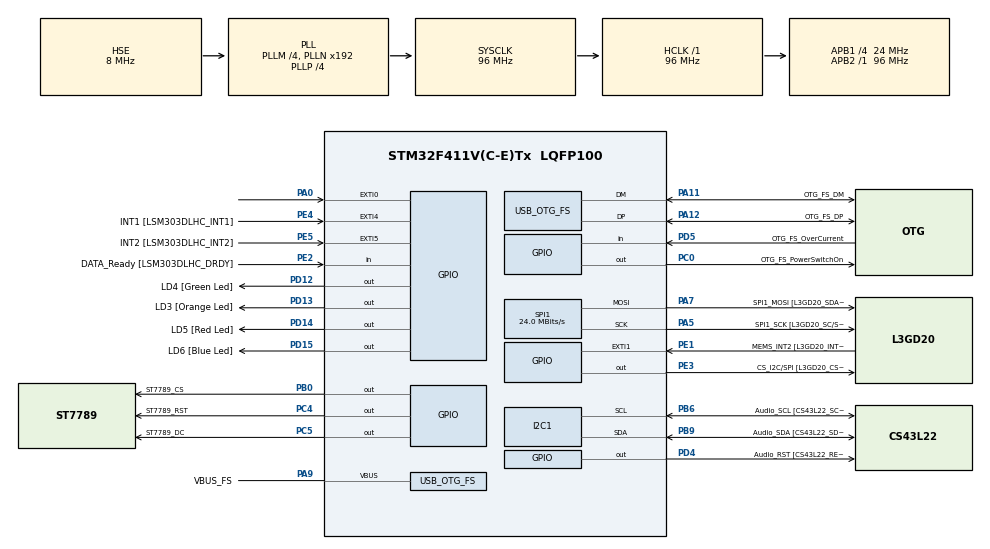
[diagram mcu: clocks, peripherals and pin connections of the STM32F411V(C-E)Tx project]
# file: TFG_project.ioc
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FREERTOS.Tasks01=defaultTask,0,128,StartDefaultTask,Default,NULL,Dynamic,NULL,NULL;batterygau_task,-3,128,StartGaulge_task,Default,NULL,Dynamic,NULL,NULL;LCD_task,-3,128,StartLCD_task,Default,NULL,Dynamic,NULL,NULL
FREERTOS.configUSE_NEWLIB_REENTRANT=1
Mcu.Family=STM32F4
Mcu.Name=STM32F411V(C-E)Tx
Mcu.Package=LQFP100
NVIC.I2C1_EV_IRQn=true\:5\:0\:false\:false\:true\:true\:true\:true\:true
NVIC.OTG_FS_IRQn=true\:5\:0\:false\:false\:true\:true\:true\:true\:true
NVIC.PriorityGroup=NVIC_PRIORITYGROUP_4
NVIC.TIM1_UP_TIM10_IRQn=true\:15\:0\:false\:false\:true\:false\:false\:true\:true
NVIC.TimeBase=TIM1_UP_TIM10_IRQn
NVIC.TimeBaseIP=TIM1
PA0-WKUP.GPIO_ModeDefaultEXTI=GPIO_MODE_EVT_RISING
PA0-WKUP.Signal=GPXTI0
PA10.GPIO_Label=OTG_FS_ID
PA10.Signal=USB_OTG_FS_ID
PA11.GPIO_Label=OTG_FS_DM
PA11.Mode=Host_Only
PA11.Signal=USB_OTG_FS_DM
PA12.GPIO_Label=OTG_FS_DP
PA12.Mode=Host_Only
PA12.Signal=USB_OTG_FS_DP
PA13.GPIO_Label=SWDIO
PA13.Mode=Serial_Wire
PA13.Signal=SYS_JTMS-SWDIO
PA14.GPIO_Label=SWCLK
PA14.Mode=Serial_Wire
PA14.Signal=SYS_JTCK-SWCLK
PA4.GPIO_Label=I2S3_WS [CS43L22_LRCK]
PA4.GPIO_Mode=GPIO_MODE_AF_PP
PA4.GPIO_PuPd=GPIO_NOPULL
PA4.GPIO_Speed=GPIO_SPEED_FREQ_LOW
PA4.Signal=I2S3_WS
PA5.GPIO_Label=SPI1_SCK [L3GD20_SC/SPC]
PA5.Mode=TX_Only_Simplex_Unidirect_Master
PA5.Signal=SPI1_SCK
PA6.GPIO_Label=SPI1_MISO [L3GD20_AS0/SDO]
PA6.Signal=SPI1_MISO
PA7.GPIO_Label=SPI1_MOSI [L3GD20_SDA/SDI/SDO]
PA7.Mode=TX_Only_Simplex_Unidirect_Master
PA7.Signal=SPI1_MOSI
PA9.GPIO_Label=VBUS_FS
PA9.Mode=Activate_VBUS
PA9.Signal=USB_OTG_FS_VBUS
PB0.GPIO_Label=ST7789_CS
PB0.GPIO_Speed=GPIO_SPEED_FREQ_HIGH
PB0.PinState=GPIO_PIN_SET
PB0.Signal=GPIO_Output
PB10.GPIO_Label=CLK_IN [MP45DT02_CLK]
PB10.Signal=I2S2_CK
PB12.Signal=I2S2_WS
PB3.GPIO_Label=SWO
PB3.Signal=SYS_JTDO-SWO
PB6.GPIO_Label=Audio_SCL [CS43L22_SCL]
PB6.GPIO_Mode=GPIO_MODE_AF_OD
PB6.GPIO_Pu=GPIO_PULLUP
PB6.GPIO_PuPd=GPIO_NOPULL
PB6.GPIO_Speed=GPIO_SPEED_FREQ_LOW
PB6.Mode=I2C
PB6.Signal=I2C1_SCL
PB9.GPIO_Label=Audio_SDA [CS43L22_SDA]
PB9.GPIO_Mode=GPIO_MODE_AF_OD
PB9.GPIO_Pu=GPIO_PULLUP
PB9.GPIO_PuPd=GPIO_NOPULL
PB9.GPIO_Speed=GPIO_SPEED_FREQ_LOW
PB9.Mode=I2C
PB9.Signal=I2C1_SDA
PC0.GPIO_Label=OTG_FS_PowerSwitchOn
PC0.PinState=GPIO_PIN_SET
PC0.Signal=GPIO_Output
PC10.GPIO_Label=I2S3_SCK [CS43L22_SCLK]
PC10.GPIO_Mode=GPIO_MODE_AF_PP
PC10.GPIO_PuPd=GPIO_NOPULL
PC10.GPIO_Speed=GPIO_SPEED_FREQ_LOW
PC10.Signal=I2S3_CK
PC12.GPIO_Label=I2S3_SD [CS43L22_SDIN]
PC12.GPIO_Mode=GPIO_MODE_AF_PP
PC12.GPIO_PuPd=GPIO_NOPULL
PC12.GPIO_Speed=GPIO_SPEED_FREQ_LOW
PC12.Signal=I2S3_SD
PC14-OSC32_IN.GPIO_Label=PC14-OSC32_IN
PC14-OSC32_IN.Mode=LSE-External-Oscillator
PC14-OSC32_IN.Signal=RCC_OSC32_IN
PC15-OSC32_OUT.GPIO_Label=PC15-OSC32_OUT
PC15-OSC32_OUT.Mode=LSE-External-Oscillator
PC15-OSC32_OUT.Signal=RCC_OSC32_OUT
PC3.GPIO_Label=PDM_OUT [MP45DT02_DOUT]
PC3.Signal=I2S2_SD
PC4.GPIO_Label=ST7789_RST
PC4.GPIO_Speed=GPIO_SPEED_FREQ_HIGH
PC4.Signal=GPIO_Output
PC5.GPIO_Label=ST7789_DC
PC5.GPIO_Speed=GPIO_SPEED_FREQ_HIGH
PC5.Signal=GPIO_Output
PC7.GPIO_Label=I2S3_MCK [CS43L22_MCLK]
PC7.GPIO_Mode=GPIO_MODE_AF_PP
PC7.GPIO_PuPd=GPIO_NOPULL
PC7.GPIO_Speed=GPIO_SPEED_FREQ_LOW
PC7.Signal=I2S3_MCK
PD12.GPIO_Label=LD4 [Green Led]
PD12.GPIO_PuPd=GPIO_NOPULL
PD12.GPIO_Speed=GPIO_SPEED_FREQ_LOW
PD12.Signal=GPIO_Output
PD13.GPIO_Label=LD3 [Orange Led]
PD13.GPIO_PuPd=GPIO_NOPULL
PD13.GPIO_Speed=GPIO_SPEED_FREQ_LOW
PD13.Signal=GPIO_Output
PD14.GPIO_Label=LD5 [Red Led]
PD14.GPIO_PuPd=GPIO_NOPULL
PD14.GPIO_Speed=GPIO_SPEED_FREQ_LOW
PD14.Signal=GPIO_Output
PD15.GPIO_Label=LD6 [Blue Led]
PD15.GPIO_PuPd=GPIO_NOPULL
PD15.GPIO_Speed=GPIO_SPEED_FREQ_LOW
PD15.Signal=GPIO_Output
PD4.GPIO_Label=Audio_RST [CS43L22_RESET]
PD4.Signal=GPIO_Output
PD5.GPIO_Label=OTG_FS_OverCurrent
PD5.Signal=GPIO_Input
PE1.GPIO_Label=MEMS_INT2 [L3GD20_INT2]
PE1.GPIO_ModeDefaultEXTI=GPIO_MODE_EVT_RISING
PE1.Signal=GPXTI1
PE2.GPIO_Label=DATA_Ready [LSM303DLHC_DRDY]
PE2.Signal=GPIO_Input
PE3.GPIO_Label=CS_I2C/SPI [L3GD20_CS_I2C/SPI]
PE3.Signal=GPIO_Output
PE4.GPIO_Label=INT1 [LSM303DLHC_INT1]
PE4.GPIO_ModeDefaultEXTI=GPIO_MODE_EVT_RISING
PE4.Signal=GPXTI4
PE5.GPIO_Label=INT2 [LSM303DLHC_INT2]
PE5.GPIO_ModeDefaultEXTI=GPIO_MODE_EVT_RISING
PE5.Signal=GPXTI5
PH0\ -\ OSC_IN.GPIO_Label=PH0-OSC_IN
PH0\ -\ OSC_IN.Mode=HSE-External-Oscillator
PH0\ -\ OSC_IN.Signal=RCC_OSC_IN
PH1\ -\ OSC_OUT.GPIO_Label=PH1-OSC_OUT
PH1\ -\ OSC_OUT.Mode=HSE-External-Oscillator
PH1\ -\ OSC_OUT.Signal=RCC_OSC_OUT
ProjectManager.HeapSize=0x200
ProjectManager.StackSize=0x400
ProjectManager.TargetToolchain=STM32CubeIDE
RCC.48MHZClocksFreq_Value=48000000
RCC.AHBFreq_Value=96000000
RCC.APB1CLKDivider=RCC_HCLK_DIV4
RCC.APB1Freq_Value=24000000
RCC.APB1TimFreq_Value=48000000
RCC.APB2Freq_Value=96000000
RCC.APB2TimFreq_Value=96000000
RCC.CortexFreq_Value=96000000
RCC.HCLKFreq_Value=96000000
RCC.HSE_VALUE=8000000
RCC.HSI_VALUE=16000000
RCC.PLLI2SM=5
RCC.PLLI2SN=200
RCC.PLLM=4
RCC.PLLP=RCC_PLLP_DIV4
RCC.PLLQ=8
RCC.SYSCLKFreq_VALUE=96000000
RCC.SYSCLKSource=RCC_SYSCLKSOURCE_PLLCLK
RCC.VCOOutputFreq_Value=384000000
SPI1.BaudRatePrescaler=SPI_BAUDRATEPRESCALER_4
SPI1.CalculateBaudRate=24.0 MBits/s
SPI1.Direction=SPI_DIRECTION_2LINES
SPI1.Mode=SPI_MODE_MASTER
SPI1.VirtualType=VM_MASTER
USB_HOST.BSP.number=1
USB_HOST.USBH_HandleTypeDef=hUsbHostFS
USB_HOST.USBH_USE_OS-CDC_FS=0
USB_HOST.VirtualModeFS=Cdc
USB_HOST0.BSP.STBoard=false
USB_HOST0.BSP.api=Unknown
USB_HOST0.BSP.instance=PC0
USB_HOST0.BSP.ip=GPIO
USB_HOST0.BSP.mode=Output
USB_HOST0.BSP.name=Drive_VBUS_FS
USB_HOST0.BSP.solution=PC0
USB_OTG_FS.VirtualMode=Host_Only
USB_OTG_FS.phy_itface=HCD_PHY_EMBEDDED
VP_FREERTOS_VS_CMSIS_V1.Mode=CMSIS_V1
VP_SYS_VS_tim1.Mode=TIM1
VP_USB_HOST_VS_USB_HOST_CDC_FS.Mode=CDC_FS
board=STM32F411E-DISCO

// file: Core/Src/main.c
/* USER CODE BEGIN Header */
/**
  ******************************************************************************
  * @file           : main.c
  * @brief          : Main program body
  ******************************************************************************
  * @attention
  *
  * Copyright (c) 2026 STMicroelectronics.
  * All rights reserved.
  *
  * This software is licensed under terms that can be found in the LICENSE file
  * in the root directory of this software component.
  * If no LICENSE file comes with this software, it is provided AS-IS.
  *
  ******************************************************************************
  */
/* USER CODE END Header */
#include "main.h"
#include "cmsis_os.h"
#include "i2c.h"
#include "spi.h"
#include "usb_host.h"
#include "gpio.h"

/* USER CODE BEGIN Includes */
#include "st7789.h"
#include "stdio.h"
/* USER CODE END Includes */

void SystemClock_Config(void);
void MX_FREERTOS_Init(void);

int main(void)
{

  /* MCU Configuration--------------------------------------------------------*/

  /* Reset of all peripherals, Initializes the Flash interface and the Systick. */
  HAL_Init();

  /* Configure the system clock */
  SystemClock_Config();

  /* Initialize all configured peripherals */
  MX_GPIO_Init();
  MX_I2C1_Init();
  MX_SPI1_Init();
  /* USER CODE BEGIN 2 */
  ST7789_Init();
  /* USER CODE END 2 */

  /* Call init function for freertos objects (in cmsis_os2.c) */
  MX_FREERTOS_Init();

  /* Start scheduler */
  osKernelStart();

  /* We should never get here as control is now taken by the scheduler */

  /* Infinite loop */
  while (1)
  {

  }
}

void SystemClock_Config(void)
{
  RCC_OscInitTypeDef RCC_OscInitStruct = {0};
  RCC_ClkInitTypeDef RCC_ClkInitStruct = {0};

  /** Configure the main internal regulator output voltage
  */
  __HAL_RCC_PWR_CLK_ENABLE();
  __HAL_PWR_VOLTAGESCALING_CONFIG(PWR_REGULATOR_VOLTAGE_SCALE1);

  /** Initializes the RCC Oscillators according to the specified parameters
  * in the RCC_OscInitTypeDef structure.
  */
  RCC_OscInitStruct.OscillatorType = RCC_OSCILLATORTYPE_HSE;
  RCC_OscInitStruct.HSEState = RCC_HSE_ON;
  RCC_OscInitStruct.PLL.PLLState = RCC_PLL_ON;
  RCC_OscInitStruct.PLL.PLLSource = RCC_PLLSOURCE_HSE;
  RCC_OscInitStruct.PLL.PLLM = 4;
  RCC_OscInitStruct.PLL.PLLN = 192;
  RCC_OscInitStruct.PLL.PLLP = RCC_PLLP_DIV4;
  RCC_OscInitStruct.PLL.PLLQ = 8;
  if (HAL_RCC_OscConfig(&RCC_OscInitStruct) != HAL_OK)
  {
    Error_Handler();
  }

  /** Initializes the CPU, AHB and APB buses clocks
  */
  RCC_ClkInitStruct.ClockType = RCC_CLOCKTYPE_HCLK|RCC_CLOCKTYPE_SYSCLK
                              |RCC_CLOCKTYPE_PCLK1|RCC_CLOCKTYPE_PCLK2;
  RCC_ClkInitStruct.SYSCLKSource = RCC_SYSCLKSOURCE_PLLCLK;
  RCC_ClkInitStruct.AHBCLKDivider = RCC_SYSCLK_DIV1;
  RCC_ClkInitStruct.APB1CLKDivider = RCC_HCLK_DIV4;
  RCC_ClkInitStruct.APB2CLKDivider = RCC_HCLK_DIV1;

  if (HAL_RCC_ClockConfig(&RCC_ClkInitStruct, FLASH_LATENCY_3) != HAL_OK)
  {
    Error_Handler();
  }
}

/* USER CODE BEGIN 4 */
int _write(int file, char *ptr, int len) {
    for (int i = 0; i < len; i++) {
        ITM_SendChar(*ptr++);
    }
    return len;
}
/* USER CODE END 4 */

void HAL_TIM_PeriodElapsedCallback(TIM_HandleTypeDef *htim)
{
  if (htim->Instance == TIM1)
  {
    HAL_IncTick();
  }
}

void Error_Handler(void)
{
  __disable_irq();
  while (1)
  {
  }
}

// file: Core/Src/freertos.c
/* USER CODE BEGIN Header */
/**
  ******************************************************************************
  * File Name          : freertos.c
  * Description        : Code for freertos applications
  ******************************************************************************
  * @attention
  *
  * Copyright (c) 2026 STMicroelectronics.
  * All rights reserved.
  *
  * This software is licensed under terms that can be found in the LICENSE file
  * in the root directory of this software component.
  * If no LICENSE file comes with this software, it is provided AS-IS.
  *
  ******************************************************************************
  */
/* USER CODE END Header */

#include "FreeRTOS.h"
#include "task.h"
#include "main.h"
#include "cmsis_os.h"

/* USER CODE BEGIN Includes */
#include "st7789.h"
#include <stdio.h>
#include "i2c.h"
/* USER CODE END Includes */

/* USER CODE BEGIN Variables */
float voltaje;
float porcentaje_bateria;
float consumo;
uint16_t capacidad_restante = 0;
float temperatura;
/* USER CODE END Variables */
osThreadId defaultTaskHandle;
osThreadId batterygau_taskHandle;
osThreadId LCD_taskHandle;

void StartDefaultTask(void const * argument);
void StartGaulge_task(void const * argument);
void StartLCD_task(void const * argument);

/* Funciones para configurar el BQ34Z100-G1 */
void BQ34Z100_Unseal(void);
void BQ34Z100_Seal(void);
void BQ34Z100_WriteFlashBlock(uint8_t subclass, uint8_t offset, uint8_t* data, uint8_t length);
void BQ34Z100_ReadFlashBlock(uint8_t subclass, uint8_t offset, uint8_t* out_data, uint8_t length);
void Configurar_BQ34Z100(void);
uint16_t BQ34Z100_GetDeviceType(void);

extern void MX_USB_HOST_Init(void);
void MX_FREERTOS_Init(void); /* (MISRA C 2004 rule 8.1) */

/* GetIdleTaskMemory prototype (linked to static allocation support) */
void vApplicationGetIdleTaskMemory( StaticTask_t **ppxIdleTaskTCBBuffer, StackType_t **ppxIdleTaskStackBuffer, uint32_t *pulIdleTaskStackSize );

/* USER CODE BEGIN GET_IDLE_TASK_MEMORY */
static StaticTask_t xIdleTaskTCBBuffer;
static StackType_t xIdleStack[configMINIMAL_STACK_SIZE];

void vApplicationGetIdleTaskMemory( StaticTask_t **ppxIdleTaskTCBBuffer, StackType_t **ppxIdleTaskStackBuffer, uint32_t *pulIdleTaskStackSize )
{
  *ppxIdleTaskTCBBuffer = &xIdleTaskTCBBuffer;
  *ppxIdleTaskStackBuffer = &xIdleStack[0];
  *pulIdleTaskStackSize = configMINIMAL_STACK_SIZE;
  /* place for user code */
}
/* USER CODE END GET_IDLE_TASK_MEMORY */

void MX_FREERTOS_Init(void) {

  /* Create the thread(s) */
  /* definition and creation of defaultTask */
  osThreadDef(defaultTask, StartDefaultTask, osPriorityNormal, 0, 128);
  defaultTaskHandle = osThreadCreate(osThread(defaultTask), NULL);

  /* definition and creation of batterygau_task */
  osThreadDef(batterygau_task, StartGaulge_task, osPriorityIdle, 0, 512);
  batterygau_taskHandle = osThreadCreate(osThread(batterygau_task), NULL);

  /* definition and creation of LCD_task */
  osThreadDef(LCD_task, StartLCD_task, osPriorityIdle, 0, 512);
  LCD_taskHandle = osThreadCreate(osThread(LCD_task), NULL);

}

void StartDefaultTask(void const * argument)
{
  /* init code for USB_HOST */
  MX_USB_HOST_Init();
  for(;;)
  {
    osDelay(1);
  }
}

/* USER CODE BEGIN Application_BQ_Config */
uint16_t BQ34Z100_GetDeviceType(void) {
    uint8_t data[2];
    data[0] = 0x01;
    data[1] = 0x00;

    // 1. Comprobar si el dispositivo responde a su dirección
    HAL_StatusTypeDef ready = HAL_I2C_IsDeviceReady(&hi2c1, 0xAA, 3, 100);
    if (ready != HAL_OK) {
        printf("I2C DEBUG: El BQ34Z100 no hace ACK en la direccion 0xAA (HAL Status: %d)\r\n", ready);
        return 0; // Si no responde, salir directamente
    }

    // 2. Enviar el comando para pedir el Device Type
    HAL_StatusTypeDef w_status = HAL_I2C_Mem_Write(&hi2c1, 0xAA, 0x00, 1, data, 2, 100);
    if (w_status != HAL_OK) {
        printf("I2C DEBUG: Fallo al escribir el comando (HAL Status: %d)\r\n", w_status);
        return 0;
    }

    osDelay(10);

    // 3. Leer la respuesta
    HAL_StatusTypeDef r_status = HAL_I2C_Mem_Read(&hi2c1, 0xAA, 0x00, 1, data, 2, 100);
    if (r_status == HAL_OK) {
        return (data[1] << 8) | data[0];
    } else {
        printf("I2C DEBUG: Fallo al leer la respuesta (HAL Status: %d)\r\n", r_status);
        return 0;
    }
}

void BQ34Z100_Unseal(void) {
    uint8_t data[2];
    data[0] = 0x14; data[1] = 0x04;
    HAL_I2C_Mem_Write(&hi2c1, 0xAA, 0x00, 1, data, 2, 100);
    osDelay(10);
    data[0] = 0x72; data[1] = 0x36;
    HAL_I2C_Mem_Write(&hi2c1, 0xAA, 0x00, 1, data, 2, 100);
    osDelay(10);
}

void BQ34Z100_Seal(void) {
    uint8_t data[2] = {0x20, 0x00};
    HAL_I2C_Mem_Write(&hi2c1, 0xAA, 0x00, 1, data, 2, 100);
}

void BQ34Z100_WriteFlashBlock(uint8_t subclass, uint8_t offset, uint8_t* new_data, uint8_t length) {
    uint8_t block_data[32];
    uint8_t block_cmd = 0x00;
    uint8_t new_checksum = 0;

    HAL_I2C_Mem_Write(&hi2c1, 0xAA, 0x61, 1, &block_cmd, 1, 100);
    HAL_I2C_Mem_Write(&hi2c1, 0xAA, 0x3E, 1, &subclass, 1, 100);
    uint8_t block_offset = offset / 32;
    HAL_I2C_Mem_Write(&hi2c1, 0xAA, 0x3F, 1, &block_offset, 1, 100);

    HAL_I2C_Mem_Read(&hi2c1, 0xAA, 0x40, 1, block_data, 32, 100);

    uint8_t local_offset = offset % 32;
    for(int i=0; i<length; i++) {
        block_data[local_offset + i] = new_data[i];
    }

    for(int i = 0; i < 32; i++) {
        new_checksum += block_data[i];
    }
    new_checksum = 255 - new_checksum;

    HAL_I2C_Mem_Write(&hi2c1, 0xAA, 0x40, 1, block_data, 32, 100);
    HAL_I2C_Mem_Write(&hi2c1, 0xAA, 0x60, 1, &new_checksum, 1, 100);
    osDelay(100);
}

void BQ34Z100_ReadFlashBlock(uint8_t subclass, uint8_t offset, uint8_t* out_data, uint8_t length) {
    uint8_t block_data[32];
    uint8_t block_cmd = 0x00;

    HAL_I2C_Mem_Write(&hi2c1, 0xAA, 0x61, 1, &block_cmd, 1, 100);
    HAL_I2C_Mem_Write(&hi2c1, 0xAA, 0x3E, 1, &subclass, 1, 100);
    uint8_t block_offset = offset / 32;
    HAL_I2C_Mem_Write(&hi2c1, 0xAA, 0x3F, 1, &block_offset, 1, 100);

    HAL_I2C_Mem_Read(&hi2c1, 0xAA, 0x40, 1, block_data, 32, 100);
    uint8_t local_offset = offset % 32;
    for(int i=0; i<length; i++) {
        out_data[i] = block_data[local_offset + i];
    }
}

void Configurar_BQ34Z100(void) {
    BQ34Z100_Unseal();

    uint8_t pack_config[2];
    BQ34Z100_ReadFlashBlock(64, 0, pack_config, 2);
    pack_config[0] |= (1 << 3);
    BQ34Z100_WriteFlashBlock(64, 0, pack_config, 2);

    uint8_t cells = 4;
    BQ34Z100_WriteFlashBlock(64, 7, &cells, 1);

    uint8_t capacity[2] = { (7500 >> 8) & 0xFF, 7500 & 0xFF };
    BQ34Z100_WriteFlashBlock(48, 11, capacity, 2);

    uint16_t energy = 9600;
    uint8_t energy_arr[2] = { (energy >> 8) & 0xFF, energy & 0xFF };
    BQ34Z100_WriteFlashBlock(48, 13, energy_arr, 2);

    uint8_t energy_scale = 10;
    BQ34Z100_WriteFlashBlock(48, 30, &energy_scale, 1);

    uint16_t volt_divider = 13500;
    uint8_t vd_data[2] = { (volt_divider >> 8) & 0xFF, volt_divider & 0xFF };
    BQ34Z100_WriteFlashBlock(104, 14, vd_data, 2);

    uint8_t cc_gain[4] = { 0x7D, 0xA2, 0xBF, 0xAA };
    BQ34Z100_WriteFlashBlock(104, 0, cc_gain, 4);

    uint8_t cc_delta[4] = { 0x91, 0xB8, 0xD1, 0xD4 };
    BQ34Z100_WriteFlashBlock(104, 4, cc_delta, 4);

    BQ34Z100_Seal();
}
/* USER CODE END Application_BQ_Config */

void Reparar_BQ34Z100(void) {
    printf("\r\n--- INICIANDO REPARACION DE FLASH ---\r\n");
    // 1. Desbloquear el chip para poder escribir
    BQ34Z100_Unseal();
    osDelay(100);

    // 2. Valores seguros de fabrica (Asumen un Shunt de 1 mili-Ohm)
    uint8_t cc_gain_default[4] = { 0x82, 0x98, 0x96, 0xA2 };
    BQ34Z100_WriteFlashBlock(104, 0, cc_gain_default, 4);

    uint8_t cc_delta_default[4] = { 0x82, 0xA8, 0x5D, 0xE3 };
    BQ34Z100_WriteFlashBlock(104, 4, cc_delta_default, 4);

    // NUEVO: Borrar cualquier "Tara" (Offset) corrupta que este sumando 30 Amperios
    uint8_t zero_offset[2] = { 0x00, 0x00 };
    BQ34Z100_WriteFlashBlock(104, 8, zero_offset, 2);  // Board Offset
    BQ34Z100_WriteFlashBlock(104, 12, zero_offset, 2); // CC Offset

    // 3. Divisor de voltaje para bateria de 12.8V (12800 mV = 0x3200 HEX)
    uint8_t v_div[2] = { 0x32, 0x00 };
    BQ34Z100_WriteFlashBlock(104, 14, v_div, 2);

    // 4. Volver a bloquear
    BQ34Z100_Seal();
    printf("--- REPARACION COMPLETADA ---\r\n\r\n");
}

void StartGaulge_task(void const * argument)
{
  /* USER CODE BEGIN StartGaulge_task */
  uint8_t buffer[2];
  uint16_t val_u16;
  int16_t val_i16;
  const uint16_t BQ34Z100_ADDR = 0xAA;

  uint16_t dev_type = BQ34Z100_GetDeviceType();
  printf("Verificando I2C... DEVICE_TYPE: 0x%04X\r\n", dev_type);
  if (dev_type != 0x0100) {
      printf("ERROR de I2C: No se detecta BQ34Z100-G1.\r\n");
  } else {
      printf("BQ34Z100-G1 Detectado correctamente.\r\n");
  }

  // EJECUTAR REPARACION (Solo la dejaremos descomentada para probar 1 vez)
  // Reparar_BQ34Z100();

  /* Infinite loop */
  for(;;)
  {
    uint8_t buf_v[2] = {0};
    uint8_t buf_c[2] = {0};
    uint8_t buf_s[2] = {0};
    uint8_t buf_t[2] = {0};

    // 0x08 Voltaje (mV)
    if (HAL_I2C_Mem_Read(&hi2c1, BQ34Z100_ADDR, 0x08, I2C_MEMADD_SIZE_8BIT, buf_v, 2, 1000) == HAL_OK) {
        val_u16 = (buf_v[1] << 8) | buf_v[0];
        voltaje = val_u16 / 1000.0f;
    }

    // 0x0A Corriente (mA)
    if (HAL_I2C_Mem_Read(&hi2c1, BQ34Z100_ADDR, 0x0A, I2C_MEMADD_SIZE_8BIT, buf_c, 2, 1000) == HAL_OK) {
        val_i16 = (int16_t)((buf_c[1] << 8) | buf_c[0]);
        consumo = val_i16 / 1000.0f;
    }

    // 0x02 State of Charge (%)
    if (HAL_I2C_Mem_Read(&hi2c1, BQ34Z100_ADDR, 0x02, I2C_MEMADD_SIZE_8BIT, buf_s, 2, 1000) == HAL_OK) {
        val_u16 = (buf_s[1] << 8) | buf_s[0];
        porcentaje_bateria = (float)val_u16;
    }

    // 0x0C Temperature (0.1°K)
    if (HAL_I2C_Mem_Read(&hi2c1, BQ34Z100_ADDR, 0x0C, I2C_MEMADD_SIZE_8BIT, buf_t, 2, 1000) == HAL_OK) {
        val_u16 = (buf_t[1] << 8) | buf_t[0];
        temperatura = (val_u16 - 2731) / 10.0f;
    }

    // IMPRESION DE DEBUG PARA VER LOS BYTES CRUDOS QUE LLEGAN
    printf("\r\nRAW BYTES -> V:[%02X %02X] I:[%02X %02X] SOC:[%02X %02X] T:[%02X %02X]\r\n",
           buf_v[0], buf_v[1], buf_c[0], buf_c[1], buf_s[0], buf_s[1], buf_t[0], buf_t[1]);

    int v_int = (int)voltaje, v_dec = (int)((voltaje - v_int) * 100); if(v_dec < 0) v_dec = -v_dec;
    int c_int = (int)consumo, c_dec = (int)((consumo - c_int) * 100); if(c_dec < 0) c_dec = -c_dec;
    int b_int = (int)porcentaje_bateria, b_dec = (int)((porcentaje_bateria - b_int) * 10); if(b_dec < 0) b_dec = -b_dec;
    int t_int = (int)temperatura, t_dec = (int)((temperatura - t_int) * 10); if(t_dec < 0) t_dec = -t_dec;

    char c_sign[2] = {0};
    if (consumo < 0 && c_int == 0) c_sign[0] = '-';
    char t_sign[2] = {0};
    if (temperatura < 0 && t_int == 0) t_sign[0] = '-';

    printf("BQ34Z100 -> V: %d.%02dV | I: %s%d.%02dA | SOC: %d.%01d%% | Temp: %s%d.%01d C\r\n",
           v_int, v_dec, c_sign, c_int, c_dec, b_int, b_dec, t_sign, t_int, t_dec);

    osDelay(2000);
  }
  /* USER CODE END StartGaulge_task */
}

void StartLCD_task(void const * argument)
{
  /* USER CODE BEGIN StartLCD_task */
  char str_buffer[32];
  ST7789_Fill_Color(BLACK);
  ST7789_WriteString(43, 15, "ESTADO BATERIA", Font_11x18, YELLOW, BLACK);
  ST7789_DrawLine(10, 40, 230, 40, WHITE);

  /* Infinite loop */
  for(;;)
  {
    int v_int = (int)voltaje;
    int v_dec = (int)((voltaje - v_int) * 100);
    if (v_dec < 0) v_dec = -v_dec;
    sprintf(str_buffer, "Voltaje: %d.%02d V  ", v_int, v_dec);
    ST7789_WriteString(15, 70, str_buffer, Font_11x18, WHITE, BLACK);

    int c_int = (int)consumo;
    int c_dec = (int)((consumo - c_int) * 100);
    if (c_dec < 0) c_dec = -c_dec;
    char c_sign[2] = {0};
    if (consumo < 0 && c_int == 0) c_sign[0] = '-';
    sprintf(str_buffer, "Consumo: %s%d.%02d A  ", c_sign, c_int, c_dec);
    ST7789_WriteString(15, 120, str_buffer, Font_11x18, RED, BLACK);

    int b_int = (int)porcentaje_bateria;
    int b_dec = (int)((porcentaje_bateria - b_int) * 100);
    if (b_dec < 0) b_dec = -b_dec;
    sprintf(str_buffer, "Bateria: %d.%02d %% ", b_int, b_dec);
    ST7789_WriteString(15, 170, str_buffer, Font_11x18, GREEN, BLACK);

    osDelay(500);
  }
  /* USER CODE END StartLCD_task */
}
